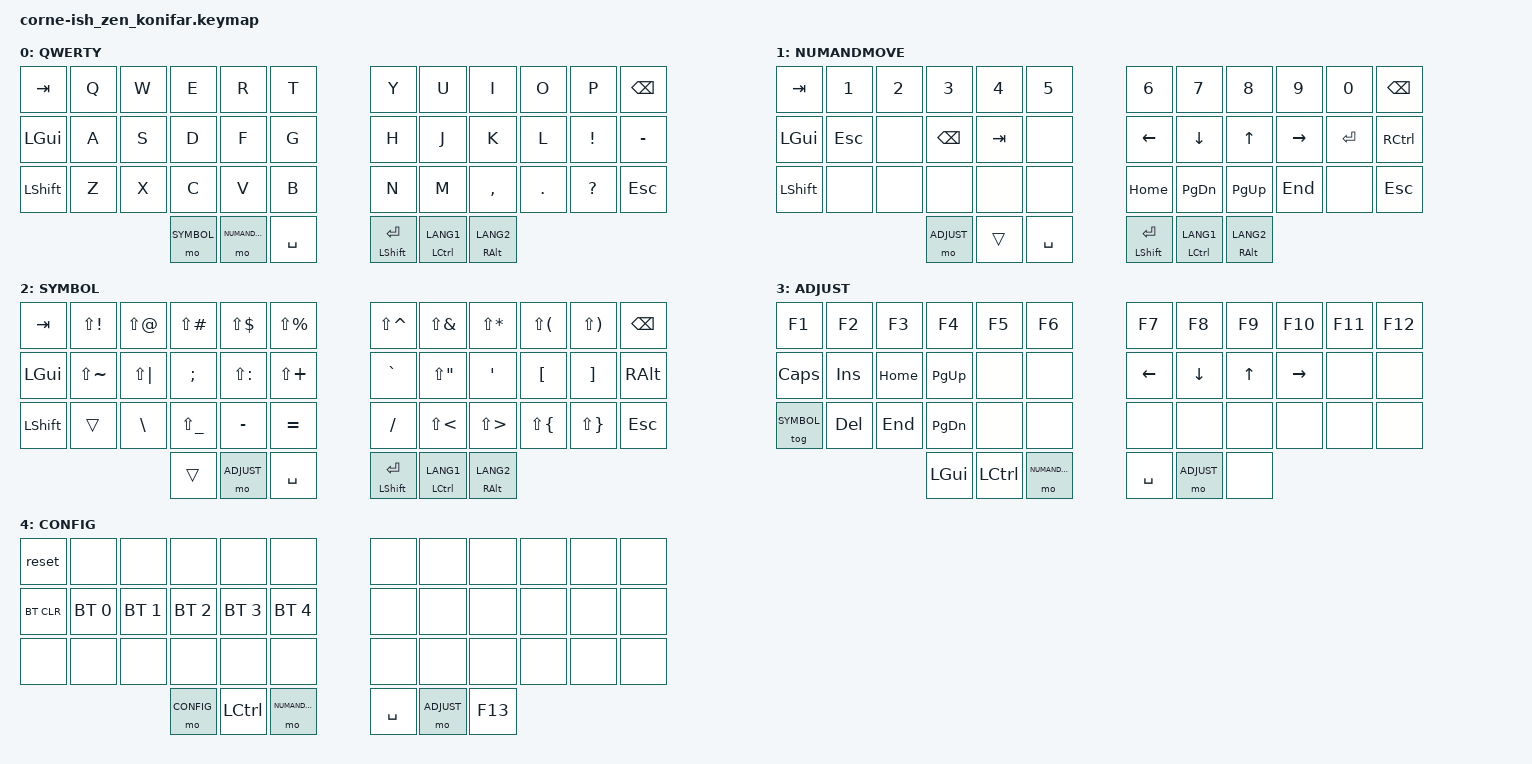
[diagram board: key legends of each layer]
/*
*
* Copyright (c) 2021 lowprokb.ca
* SPDX-License-Identifier: MIT
*
*/

#include <behaviors.dtsi>
#include <dt-bindings/zmk/keys.h>
#include <dt-bindings/zmk/bt.h>

#define QWERTY 0
#define NUMANDMOVE 1
#define SYMBOL 2
#define ADJUST 3
#define CONFIG 4

/ {
        keymap {
                compatible = "zmk,keymap";

                default_layer {
                        label = "QWERTY";
                        bindings = <
   &kp TAB    &kp Q  &kp W  &kp E       &kp R           &kp T      &kp Y            &kp U            &kp I           &kp O    &kp P         &kp BKSP
   &kp LGUI   &kp A  &kp S  &kp D       &kp F           &kp G      &kp H            &kp J            &kp K           &kp L    &kp EXCL      &kp MINUS 
   &kp LSHFT  &kp Z  &kp X  &kp C       &kp V           &kp B      &kp N            &kp M            &kp CMMA        &kp DOT  &kp QUESTION  &kp ESC 
                            &mo SYMBOL  &mo NUMANDMOVE  &kp SPC    &mt LSHFT ENTER  &mt LCTRL LANG1  &mt RALT LANG2
                        >;
                };

                numandmove_layer {
                        label = "NUMANDMOVE";
                        bindings = <
   &kp TAB    &kp N1   &kp N2  &kp N3      &kp N4   &kp N5       &kp N6           &kp N7           &kp N8          &kp N9     &kp N0     &kp BSPC
   &kp LGUI   &kp ESC  &none   &kp BSPC    &kp TAB  &none        &kp LEFT         &kp DOWN         &kp UP          &kp RIGHT  &kp ENTER  &kp RCTRL
   &kp LSHFT  &none    &none   &none       &none    &none        &kp HOME         &kp PAGE_DOWN    &kp PAGE_UP     &kp END    &none      &kp ESC
                               &mo ADJUST  &trans   &kp SPACE    &mt LSHFT ENTER  &mt LCTRL LANG1  &mt RALT LANG2
                        >;
                };

                symbol_layer {
                        label = "SYMBOL";
                        bindings = < 
   &kp TAB    &kp LS(EXCL)   &kp LS(AT)    &kp LS(POUND)  &kp LS(DLLR)   &kp LS(PRCNT)    &kp LS(CARET)    &kp LS(AMPS)     &kp LS(STAR)  &kp LS(LPAR)  &kp LS(RPAR)  &kp BSPC
   &kp LGUI   &kp LS(TILDE)  &kp LS(PIPE)  &kp SEMI       &kp LS(COLON)  &kp LS(PLUS)     &kp GRAVE        &kp LS(DQT)      &kp SQT       &kp LBKT      &kp RBKT      &kp RALT
   &kp LSHFT  &trans         &kp BSLH      &kp LS(UNDER)  &kp MINUS      &kp EQUAL        &kp FSLH         &kp LS(LT)       &kp LS(GT)    &kp LS(LBRC)  &kp LS(RBRC)  &kp ESC
                                           &trans         &mo ADJUST     &kp SPC          &mt LSHFT ENTER  &mt LCTRL LANG1  &mt RALT LANG2
                        >;
                };

                adjust_layer {
                        label = "ADJUST";
                        bindings = <
   &kp F1      &kp F2  &kp F3   &kp F4    &kp F5 &kp F6    &kp F7   &kp F8   &kp F9 &kp F10   &kp F11 &kp F12
   &kp CAPS    &kp INS &kp HOME &kp PG_UP &none  &none     &kp LEFT &kp DOWN &kp UP &kp RIGHT &none   &none
   &tog SYMBOL &kp DEL &kp END  &kp PG_DN &none  &none     &none    &none    &none  &none     &none   &none
                           &kp LGUI &kp LCTL &mo NUMANDMOVE    &kp SPC &mo ADJUST &none
                        >;
                };

                config_layer {
                        label = "CONFIG";
                        bindings = <
   &reset     &none        &none        &none        &none        &none           &none &none &none &none &none &none 
   &bt BT_CLR &bt BT_SEL 0 &bt BT_SEL 1 &bt BT_SEL 2 &bt BT_SEL 3 &bt BT_SEL 4    &none &none &none &none &none &none
   &none      &none        &none        &none        &none        &none           &none &none &none &none &none &none
                                                &mo CONFIG &kp LCTL &mo NUMANDMOVE    &kp SPC &mo ADJUST &kp F13
                        >;
                };
        };
};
